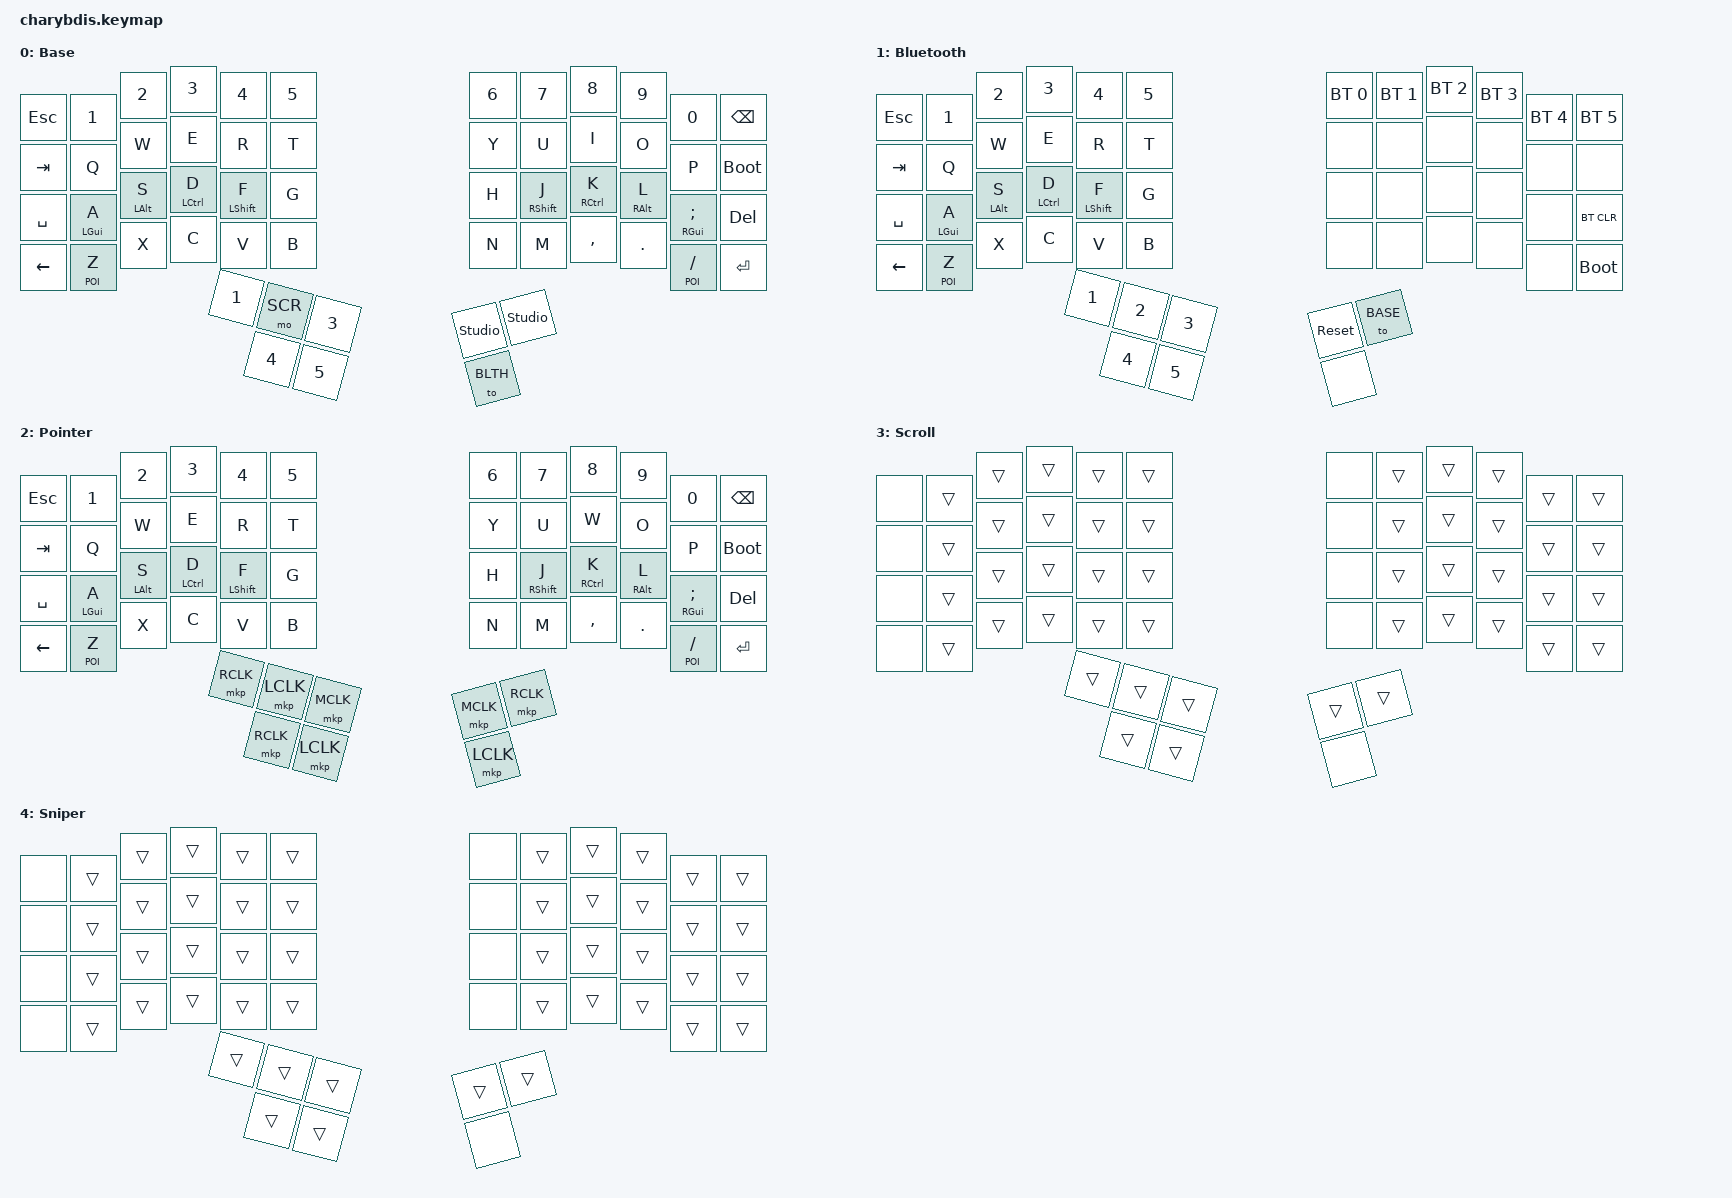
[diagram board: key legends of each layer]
#include <behaviors.dtsi>
#include <dt-bindings/zmk/keys.h>
#include <dt-bindings/zmk/bt.h>
#include <dt-bindings/zmk/ext_power.h>
#include <dt-bindings/zmk/mouse.h>
#include <dt-bindings/zmk/outputs.h>
#include <input/processors.dtsi>
#include <dt-bindings/zmk/input_transform.h>

#define BASE 0
#define BLTH 1
#define POI 2
#define SCR 4
#define SNI 5


&sl {
  release-after-ms = <250>;
};

&mt {
    tapping-term-ms = <200>;
    require-prior-idle-ms = <150>;
};

/ {

    #include "combos.dtsi"

    behaviors {
        hml: homewrow_mods_left {
            compatible = "zmk,behavior-hold-tap";
            label = "HOMEROW_MODS_LEFT_HAND";
            bindings = <&kp>, <&kp>;

            #binding-cells = <2>;
            tapping-term-ms = <280>;
            hold-trigger-key-positions = <5 6 7 8 9 15 16 17 18 19 25 26 27 28 29 33 34>;
            flavor = "balanced";
            quick-tap-ms = <175>;
            require-prior-idle-ms = <125>;
            hold-trigger-on-release;
        };

        hmr: homewrow_mods_right {
            compatible = "zmk,behavior-hold-tap";
            label = "HOMEROW_MODS_RIGHT_HAND";
            bindings = <&kp>, <&kp>;

            #binding-cells = <2>;
            tapping-term-ms = <280>;
            hold-trigger-key-positions = <0 1 2 3 4 10 11 12 13 14 20 21 22 23 24 30 31 32>;
            flavor = "balanced";
            quick-tap-ms = <175>;
            require-prior-idle-ms = <125>;
            hold-trigger-on-release;
        };

    };

    trackball_listener {
        compatible = "zmk,input-listener";
        device = <&trackball>;
        input-processors = <&zip_x_scaler 1 3>, <&zip_x_scaler 3 1>,  <&zip_xy_transform (INPUT_TRANSFORM_XY_SWAP | INPUT_TRANSFORM_X_INVERT | INPUT_TRANSFORM_Y_INVERT)>;

        scroller {
            layers = <SCR>;
            input-processors =  <&zip_xy_to_scroll_mapper>, <&zip_scroll_scaler 1 100>;
        };
    };

    keymap {
        compatible = "zmk,keymap";
        Base {
            bindings = <
             &kp ESC   &kp      N1  &kp      N2  &kp       N3  &kp       N4  &kp N5       &kp N6    &kp        N7 &kp       N8  &kp      N9  &kp              N0  &kp BACKSPACE             
             &kp TAB   &kp       Q  &kp       W  &kp        E  &kp        R  &kp T        &kp Y     &kp        U  &kp        I  &kp       O  &kp               P  &bootloader
             &kp SPACE &hml LGUI A  &hml LALT S  &hml LCTRL D  &hml LSHFT F  &kp G        &kp H     &hml RSHFT J  &hml RCTRL K  &hml RALT L  &hml RGUI SEMICOLON  &kp DELETE
             &kp LEFT  &lt   POI Z  &kp       X  &kp        C  &kp        V  &kp B        &kp N     &kp        M  &kp    COMMA  &kp     DOT  &lt POI SLASH        &kp ENTER
                       &kp N1       &mo SCR      &kp       N3  &kp       N4  &kp N5       &to BLTH  &studio_unlock    &studio_unlock
            >;
        };

        Bluetooth {
            bindings = <
             &kp ESC   &kp      N1  &kp      N2  &kp       N3  &kp       N4  &kp N5       &bt BT_SEL 0 &bt BT_SEL 1 &bt BT_SEL 2 &bt BT_SEL 3 &bt BT_SEL 4 &bt BT_SEL 5             
             &kp TAB   &kp       Q  &kp       W  &kp        E  &kp        R  &kp T        &none &none &none &none &none &none
             &kp SPACE &hml LGUI A  &hml LALT S  &hml LCTRL D  &hml LSHFT F  &kp G        &none &none &none &none &none &bt BT_CLR
             &kp LEFT  &lt   POI Z  &kp       X  &kp        C  &kp        V  &kp B        &none &none &none &none &none &bootloader
                       &kp N1       &kp      N2  &kp       N3  &kp       N4  &kp N5       &none &sys_reset  &to BASE
            >;
        };

        Pointer {
            bindings = <
             &kp ESC   &kp      N1  &kp      N2  &kp       N3  &kp       N4  &kp N5       &kp N6    &kp        N7 &kp       N8  &kp      N9  &kp              N0  &kp BACKSPACE             
             &kp TAB   &kp       Q  &kp       W  &kp        E  &kp        R  &kp T        &kp Y     &kp        U  &kp        W  &kp       O  &kp               P  &bootloader
             &kp SPACE &hml LGUI A  &hml LALT S  &hml LCTRL D  &hml LSHFT F  &kp G        &kp H     &hml RSHFT J  &hml RCTRL K  &hml RALT L  &hml RGUI SEMICOLON  &kp DELETE
             &kp LEFT  &lt   POI Z  &kp       X  &kp        C  &kp        V  &kp B        &kp N     &kp        M  &kp    COMMA  &kp     DOT  &lt POI SLASH        &kp ENTER
                       &mkp   RCLK  &mkp   LCLK  &mkp    MCLK  &mkp   RCLK   &mkp LCLK    &mkp LCLK &mkp    MCLK  &mkp RCLK
            >;
        };

        Scroll {
            bindings = <
                &none &trans  &trans  &trans  &trans  &trans    &none &trans  &trans  &trans  &trans  &trans
                &none &trans  &trans  &trans  &trans  &trans    &none &trans  &trans  &trans  &trans  &trans
                &none &trans  &trans  &trans  &trans  &trans    &none &trans  &trans  &trans  &trans  &trans
                &none &trans  &trans  &trans  &trans  &trans    &none &trans  &trans  &trans  &trans  &trans
                      &trans  &trans  &trans  &trans  &trans    &none &trans  &trans
            >;
        };

        Sniper {
            bindings = <
                &none &trans  &trans  &trans  &trans  &trans    &none &trans  &trans  &trans  &trans  &trans
                &none &trans  &trans  &trans  &trans  &trans    &none &trans  &trans  &trans  &trans  &trans
                &none &trans  &trans  &trans  &trans  &trans    &none &trans  &trans  &trans  &trans  &trans
                &none &trans  &trans  &trans  &trans  &trans    &none &trans  &trans  &trans  &trans  &trans
                      &trans  &trans  &trans  &trans  &trans    &none &trans  &trans
            >;
        };

        extra1 {
            status = "reserved";
        };

        extra2 {
            status = "reserved";
        };
    };
};
